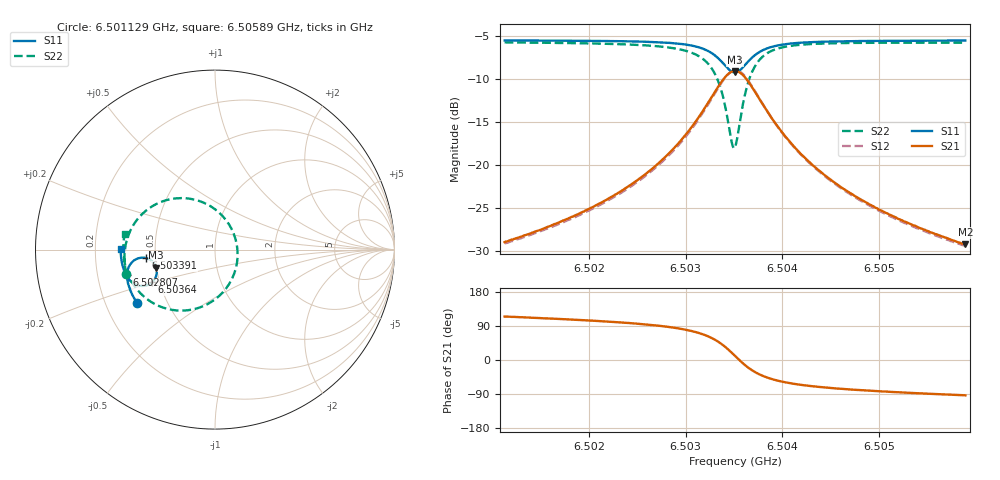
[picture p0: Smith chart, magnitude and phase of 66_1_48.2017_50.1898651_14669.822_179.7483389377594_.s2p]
#  HZ  S  RI  R  50.00
! Rohde & Schwarz Vector Network Analyzer
! Rohde-Schwarz,ZNB20-2Port,1311601062101988,3.16
! Created: UTC 3/20/2024, 11:38:58 AM
! freq[Hz]  re:S11  im:S11  re:S21  im:S21  re:S12  im:S12  re:S22  im:S22
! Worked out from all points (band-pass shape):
!   401 points, 6.501129 GHz to 6.50589 GHz, reference 50 ohm
!   highest |S21| = -9.11 dB at 6.50351 GHz (marker M1); lowest = -29.3 dB at 6.50589 GHz (marker M2)
!   |S21| within 3 dB of the highest: 6.503271 GHz to 6.503747 GHz (475.9 kHz wide, 0.00732 % of centre)
!   lowest |S11| = -9.3 dB at 6.50351 GHz (marker M3), VSWR 2.04, Z = 24.9 - j5.71 ohm
!   |S11| at or under -10 dB: nowhere
!   |S22| runs from -18.1 to -5.8 dB; largest |S21 - S12| = 0.012
!   S11 on the Smith chart (normalised r, x): 6.501129 GHz: 0.34, -0.28; 6.502807 GHz: 0.33, -0.13; 6.503391 GHz: 0.44, -0.05; 6.50364 GHz: 0.46, -0.20; 6.50589 GHz: 0.31, +0.00
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6.5011289e9  -0.4343 -0.2976  -0.0147 0.0322  -0.013 0.0323  -0.4946 -0.1368
6.5019264e9  -0.4674 -0.237  -0.0138 0.0509  -0.0114 0.0503  -0.5046 -0.0486
6.5023668e9  -0.4822 -0.1965  -0.0106 0.0714  -0.00748 0.07  -0.4992 0.0173
6.5027239e9  -0.4898 -0.1552  -0.000681 0.1022  0.00302 0.0997  -0.4771 0.0936
6.5028073e9  -0.4901 -0.1435  0.00432 0.1132  0.00816 0.1101  -0.4661 0.1169
6.5030096e9  -0.4854 -0.1095  0.0279 0.1487  0.0315 0.1441  -0.4169 0.1864
6.5031524e9  -0.4703 -0.0793  0.0668 0.1832  0.0694 0.1771  -0.3414 0.2462
6.5032953e9  -0.431 -0.0497  0.1516 0.2123  0.1521 0.206  -0.1868 0.2869
6.5033905e9  -0.3827 -0.0475  0.246 0.1943  0.2459 0.1897  -0.023 0.2406
6.5034738e9  -0.3387 -0.0781  0.3261 0.1165  0.3288 0.1123  0.105 0.0866
6.5035095e9  -0.3276 -0.1012  0.344 0.0658  0.3478 0.0603  0.1256 -0.00888
6.5035333e9  -0.3246 -0.1182  0.3471 0.0301  0.3515 0.0232  0.1223 -0.0745
6.503569e9  -0.327 -0.143  0.3391 -0.0216  0.3429 -0.0308  0.093 -0.1663
6.5036405e9  -0.3501 -0.1814  0.2904 -0.1001  0.2901 -0.112  -0.0225 -0.2926
6.5037357e9  -0.3921 -0.2017  0.2094 -0.1441  0.2043 -0.1546  -0.1875 -0.3398
6.5038071e9  -0.4191 -0.2015  0.1602 -0.149  0.1533 -0.1572  -0.2793 -0.3263
6.5038904e9  -0.4427 -0.1942  0.1185 -0.1428  0.1111 -0.1484  -0.3523 -0.2935
6.504069e9  -0.474 -0.1715  0.0669 -0.1195  0.0603 -0.1218  -0.4359 -0.2198
6.504307e9  -0.4951 -0.1418  0.0355 -0.0933  0.0304 -0.0938  -0.481 -0.1447
6.5046403e9  -0.5102 -0.1057  0.0165 -0.0698  0.013 -0.0695  -0.5034 -0.0724
6.5051045e9  -0.5205 -0.0617  0.00542 -0.0509  0.00304 -0.0502  -0.5108 -0.00237
6.5058901e9  -0.526 0.00581  -0.00193 -0.0342  -0.00327 -0.0334  -0.5038 0.0842
